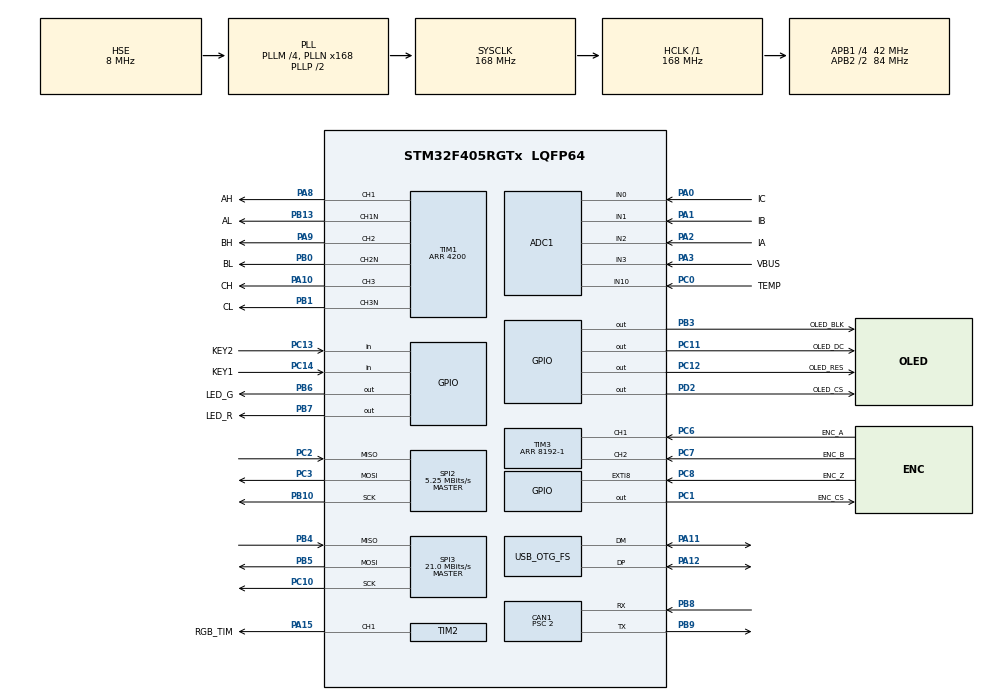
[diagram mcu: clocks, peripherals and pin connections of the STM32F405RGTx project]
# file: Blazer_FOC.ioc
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ADC1.Channel-2\#ChannelRegularConversion=ADC_CHANNEL_10
ADC1.Channel-3\#ChannelInjectedConversion=ADC_CHANNEL_2
ADC1.Channel-4\#ChannelInjectedConversion=ADC_CHANNEL_1
ADC1.Channel-5\#ChannelInjectedConversion=ADC_CHANNEL_0
ADC1.Channel-6\#ChannelInjectedConversion=ADC_CHANNEL_3
ADC1.ContinuousConvMode=ENABLE
ADC1.ExternalTrigInjecConv=ADC_EXTERNALTRIGINJECCONV_T1_CC4
ADC1.ExternalTrigInjecConvEdge=ADC_EXTERNALTRIGINJECCONVEDGE_FALLING
ADC1.InjNumberOfConversion=4
ADC1.InjectedOffset-3\#ChannelInjectedConversion=0
ADC1.InjectedOffset-4\#ChannelInjectedConversion=0
ADC1.InjectedOffset-5\#ChannelInjectedConversion=0
ADC1.InjectedOffset-6\#ChannelInjectedConversion=0
ADC1.InjectedRank-3\#ChannelInjectedConversion=1
ADC1.InjectedRank-4\#ChannelInjectedConversion=2
ADC1.InjectedRank-5\#ChannelInjectedConversion=3
ADC1.InjectedRank-6\#ChannelInjectedConversion=4
ADC1.NbrOfConversionFlag=1
ADC1.Rank-2\#ChannelRegularConversion=1
ADC1.SamplingTime-2\#ChannelRegularConversion=ADC_SAMPLETIME_15CYCLES
ADC1.SamplingTime-3\#ChannelInjectedConversion=ADC_SAMPLETIME_3CYCLES
ADC1.SamplingTime-4\#ChannelInjectedConversion=ADC_SAMPLETIME_3CYCLES
ADC1.SamplingTime-5\#ChannelInjectedConversion=ADC_SAMPLETIME_3CYCLES
ADC1.SamplingTime-6\#ChannelInjectedConversion=ADC_SAMPLETIME_3CYCLES
ADC1.ScanConvMode=ENABLE
ADC1.master=1
CAN1.ABOM=DISABLE
CAN1.AWUM=DISABLE
CAN1.BS1=CAN_BS1_16TQ
CAN1.BS2=CAN_BS2_4TQ
CAN1.CalculateBaudRate=1000000
CAN1.CalculateTimeBit=1000
CAN1.CalculateTimeQuantum=47.61904761904762
CAN1.Prescaler=2
Dma.MEMTOMEM.2.Direction=DMA_MEMORY_TO_MEMORY
Dma.MEMTOMEM.2.FIFOMode=DMA_FIFOMODE_ENABLE
Dma.MEMTOMEM.2.FIFOThreshold=DMA_FIFO_THRESHOLD_FULL
Dma.MEMTOMEM.2.Instance=DMA2_Stream0
Dma.MEMTOMEM.2.MemBurst=DMA_MBURST_SINGLE
Dma.MEMTOMEM.2.MemDataAlignment=DMA_MDATAALIGN_HALFWORD
Dma.MEMTOMEM.2.MemInc=DMA_MINC_ENABLE
Dma.MEMTOMEM.2.Mode=DMA_NORMAL
Dma.MEMTOMEM.2.PeriphBurst=DMA_PBURST_SINGLE
Dma.MEMTOMEM.2.PeriphDataAlignment=DMA_PDATAALIGN_HALFWORD
Dma.MEMTOMEM.2.PeriphInc=DMA_PINC_ENABLE
Dma.MEMTOMEM.2.Priority=DMA_PRIORITY_MEDIUM
Dma.Request0=SPI3_RX
Dma.Request1=SPI3_TX
Dma.Request2=MEMTOMEM
Dma.Request3=TIM2_CH1
Dma.SPI3_RX.0.Direction=DMA_PERIPH_TO_MEMORY
Dma.SPI3_RX.0.FIFOMode=DMA_FIFOMODE_DISABLE
Dma.SPI3_RX.0.Instance=DMA1_Stream0
Dma.SPI3_RX.0.MemDataAlignment=DMA_MDATAALIGN_BYTE
Dma.SPI3_RX.0.MemInc=DMA_MINC_ENABLE
Dma.SPI3_RX.0.Mode=DMA_NORMAL
Dma.SPI3_RX.0.PeriphDataAlignment=DMA_PDATAALIGN_BYTE
Dma.SPI3_RX.0.PeriphInc=DMA_PINC_DISABLE
Dma.SPI3_RX.0.Priority=DMA_PRIORITY_LOW
Dma.SPI3_TX.1.Direction=DMA_MEMORY_TO_PERIPH
Dma.SPI3_TX.1.FIFOMode=DMA_FIFOMODE_DISABLE
Dma.SPI3_TX.1.Instance=DMA1_Stream7
Dma.SPI3_TX.1.MemDataAlignment=DMA_MDATAALIGN_BYTE
Dma.SPI3_TX.1.MemInc=DMA_MINC_ENABLE
Dma.SPI3_TX.1.Mode=DMA_NORMAL
Dma.SPI3_TX.1.PeriphDataAlignment=DMA_PDATAALIGN_BYTE
Dma.SPI3_TX.1.PeriphInc=DMA_PINC_DISABLE
Dma.SPI3_TX.1.Priority=DMA_PRIORITY_LOW
Dma.TIM2_CH1.3.Direction=DMA_MEMORY_TO_PERIPH
Dma.TIM2_CH1.3.FIFOMode=DMA_FIFOMODE_DISABLE
Dma.TIM2_CH1.3.Instance=DMA1_Stream5
Dma.TIM2_CH1.3.MemDataAlignment=DMA_MDATAALIGN_WORD
Dma.TIM2_CH1.3.MemInc=DMA_MINC_ENABLE
Dma.TIM2_CH1.3.Mode=DMA_NORMAL
Dma.TIM2_CH1.3.PeriphDataAlignment=DMA_PDATAALIGN_WORD
Dma.TIM2_CH1.3.PeriphInc=DMA_PINC_DISABLE
Dma.TIM2_CH1.3.Priority=DMA_PRIORITY_MEDIUM
Mcu.Family=STM32F4
Mcu.Name=STM32F405RGTx
Mcu.Package=LQFP64
NVIC.ADC_IRQn=true\:0\:0\:true\:false\:true\:true\:true\:true
NVIC.CAN1_RX0_IRQn=true\:0\:2\:true\:false\:true\:true\:true\:true
NVIC.CAN1_TX_IRQn=true\:0\:1\:true\:false\:true\:true\:true\:true
NVIC.DMA1_Stream0_IRQn=true\:1\:0\:true\:false\:true\:false\:true\:true
NVIC.DMA1_Stream5_IRQn=true\:0\:0\:true\:false\:true\:false\:true\:true
NVIC.DMA1_Stream7_IRQn=true\:1\:0\:false\:false\:true\:false\:true\:true
NVIC.EXTI9_5_IRQn=true\:1\:1\:true\:false\:true\:true\:true\:true
NVIC.OTG_FS_IRQn=true\:0\:0\:false\:false\:true\:false\:true\:true
NVIC.PriorityGroup=NVIC_PRIORITYGROUP_2
NVIC.TIM7_IRQn=true\:1\:1\:true\:false\:true\:true\:true\:true
PA0-WKUP.GPIO_Label=IC
PA0-WKUP.Signal=ADCx_IN0
PA1.GPIO_Label=IB
PA1.Signal=ADCx_IN1
PA10.GPIO_Label=CH
PA10.GPIO_Speed=GPIO_SPEED_FREQ_VERY_HIGH
PA10.Signal=S_TIM1_CH3
PA10.Stacked=true
PA11.Mode=Device_Only
PA11.Signal=USB_OTG_FS_DM
PA12.Mode=Device_Only
PA12.Signal=USB_OTG_FS_DP
PA13.Mode=Serial_Wire
PA13.Signal=SYS_JTMS-SWDIO
PA14.Mode=Serial_Wire
PA14.Signal=SYS_JTCK-SWCLK
PA15.GPIO_Label=RGB_TIM
PA15.Signal=S_TIM2_CH1_ETR
PA2.GPIO_Label=IA
PA2.Signal=ADCx_IN2
PA3.GPIO_Label=VBUS
PA3.Signal=ADCx_IN3
PA8.GPIO_Label=AH
PA8.GPIO_Speed=GPIO_SPEED_FREQ_VERY_HIGH
PA8.Signal=S_TIM1_CH1
PA8.Stacked=true
PA9.GPIO_Label=BH
PA9.GPIO_Speed=GPIO_SPEED_FREQ_VERY_HIGH
PA9.Signal=S_TIM1_CH2
PA9.Stacked=true
PB0.GPIO_Label=BL
PB0.GPIO_Speed=GPIO_SPEED_FREQ_VERY_HIGH
PB0.Mode=PWM Generation2 CH2 CH2N
PB0.Signal=TIM1_CH2N
PB0.Stacked=true
PB1.GPIO_Label=CL
PB1.GPIO_Speed=GPIO_SPEED_FREQ_VERY_HIGH
PB1.Mode=PWM Generation3 CH3 CH3N
PB1.Signal=TIM1_CH3N
PB1.Stacked=true
PB10.Mode=Full_Duplex_Master
PB10.Signal=SPI2_SCK
PB13.GPIO_Label=AL
PB13.GPIO_Speed=GPIO_SPEED_FREQ_VERY_HIGH
PB13.Mode=PWM Generation1 CH1 CH1N
PB13.Signal=TIM1_CH1N
PB13.Stacked=true
PB3.GPIO_Label=OLED_BLK
PB3.GPIO_Speed=GPIO_SPEED_FREQ_VERY_HIGH
PB3.PinState=GPIO_PIN_SET
PB3.Signal=GPIO_Output
PB4.Mode=Full_Duplex_Master
PB4.Signal=SPI3_MISO
PB5.Mode=Full_Duplex_Master
PB5.Signal=SPI3_MOSI
PB6.GPIO_Label=LED_G
PB6.GPIO_Speed=GPIO_SPEED_FREQ_VERY_HIGH
PB6.PinState=GPIO_PIN_SET
PB6.Signal=GPIO_Output
PB7.GPIO_Label=LED_R
PB7.GPIO_Speed=GPIO_SPEED_FREQ_VERY_HIGH
PB7.PinState=GPIO_PIN_SET
PB7.Signal=GPIO_Output
PB8.Mode=CAN_Activate
PB8.Signal=CAN1_RX
PB9.Mode=CAN_Activate
PB9.Signal=CAN1_TX
PC0.GPIO_Label=TEMP
PC0.Signal=ADCx_IN10
PC1.GPIO_Label=ENC_CS
PC1.GPIO_Speed=GPIO_SPEED_FREQ_VERY_HIGH
PC1.PinState=GPIO_PIN_SET
PC1.Signal=GPIO_Output
PC10.Mode=Full_Duplex_Master
PC10.Signal=SPI3_SCK
PC11.GPIO_Label=OLED_DC
PC11.GPIO_Speed=GPIO_SPEED_FREQ_VERY_HIGH
PC11.Signal=GPIO_Output
PC12.GPIO_Label=OLED_RES
PC12.GPIO_Speed=GPIO_SPEED_FREQ_VERY_HIGH
PC12.Signal=GPIO_Output
PC13-ANTI_TAMP.GPIO_Label=KEY2
PC13-ANTI_TAMP.GPIO_PuPd=GPIO_PULLUP
PC13-ANTI_TAMP.Signal=GPIO_Input
PC14-OSC32_IN.GPIO_Label=KEY1
PC14-OSC32_IN.GPIO_PuPd=GPIO_PULLUP
PC14-OSC32_IN.Signal=GPIO_Input
PC2.Mode=Full_Duplex_Master
PC2.Signal=SPI2_MISO
PC3.Mode=Full_Duplex_Master
PC3.Signal=SPI2_MOSI
PC6.GPIO_Label=ENC_A
PC6.GPIO_Speed=GPIO_SPEED_FREQ_VERY_HIGH
PC6.Signal=S_TIM3_CH1
PC6.Stacked=true
PC7.GPIO_Label=ENC_B
PC7.GPIO_Speed=GPIO_SPEED_FREQ_VERY_HIGH
PC7.Signal=S_TIM3_CH2
PC7.Stacked=true
PC8.GPIO_Label=ENC_Z
PC8.Signal=GPXTI8
PD2.GPIO_Label=OLED_CS
PD2.GPIO_Speed=GPIO_SPEED_FREQ_VERY_HIGH
PD2.PinState=GPIO_PIN_SET
PD2.Signal=GPIO_Output
PH0-OSC_IN.Mode=HSE-External-Oscillator
PH0-OSC_IN.Signal=RCC_OSC_IN
PH1-OSC_OUT.Mode=HSE-External-Oscillator
PH1-OSC_OUT.Signal=RCC_OSC_OUT
ProjectManager.HeapSize=0x2000
ProjectManager.StackSize=0x4000
ProjectManager.TargetToolchain=MDK-ARM V5.32
RCC.48MHZClocksFreq_Value=48000000
RCC.AHBFreq_Value=168000000
RCC.APB1CLKDivider=RCC_HCLK_DIV4
RCC.APB1Freq_Value=42000000
RCC.APB1TimFreq_Value=84000000
RCC.APB2CLKDivider=RCC_HCLK_DIV2
RCC.APB2Freq_Value=84000000
RCC.APB2TimFreq_Value=168000000
RCC.CortexFreq_Value=168000000
RCC.HCLKFreq_Value=168000000
RCC.HSE_Timout=1000
RCC.HSE_VALUE=8000000
RCC.HSI_VALUE=16000000
RCC.LSE_VALUE=32768
RCC.PLLM=4
RCC.PLLN=168
RCC.PLLQ=7
RCC.SYSCLKFreq_VALUE=168000000
RCC.SYSCLKSource=RCC_SYSCLKSOURCE_PLLCLK
RCC.VCOOutputFreq_Value=336000000
SH.ADCx_IN0.0=ADC1_IN0,IN0
SH.ADCx_IN1.0=ADC1_IN1,IN1
SH.ADCx_IN10.0=ADC1_IN10,IN10
SH.ADCx_IN2.0=ADC1_IN2,IN2
SH.ADCx_IN3.0=ADC1_IN3,IN3
SH.S_TIM1_CH1.0=TIM1_CH1,PWM Generation1 CH1 CH1N
SH.S_TIM1_CH2.0=TIM1_CH2,PWM Generation2 CH2 CH2N
SH.S_TIM1_CH3.0=TIM1_CH3,PWM Generation3 CH3 CH3N
SH.S_TIM2_CH1_ETR.0=TIM2_CH1,PWM Generation1 CH1
SH.S_TIM3_CH1.0=TIM3_CH1,Encoder_Interface
SH.S_TIM3_CH2.0=TIM3_CH2,Encoder_Interface
SPI2.BaudRatePrescaler=SPI_BAUDRATEPRESCALER_8
SPI2.CLKPhase=SPI_PHASE_2EDGE
SPI2.CLKPolarity=SPI_POLARITY_HIGH
SPI2.CalculateBaudRate=5.25 MBits/s
SPI2.DataSize=SPI_DATASIZE_16BIT
SPI2.Direction=SPI_DIRECTION_2LINES
SPI2.Mode=SPI_MODE_MASTER
SPI2.VirtualType=VM_MASTER
SPI3.BaudRatePrescaler=SPI_BAUDRATEPRESCALER_2
SPI3.CLKPhase=SPI_PHASE_2EDGE
SPI3.CLKPolarity=SPI_POLARITY_HIGH
SPI3.CalculateBaudRate=21.0 MBits/s
SPI3.Direction=SPI_DIRECTION_2LINES
SPI3.Mode=SPI_MODE_MASTER
SPI3.VirtualType=VM_MASTER
TIM1.AutoReloadPreload=TIM_AUTORELOAD_PRELOAD_ENABLE
TIM1.Channel-PWM\ Generation1\ CH1\ CH1N=TIM_CHANNEL_1
TIM1.Channel-PWM\ Generation2\ CH2\ CH2N=TIM_CHANNEL_2
TIM1.Channel-PWM\ Generation3\ CH3\ CH3N=TIM_CHANNEL_3
TIM1.Channel-PWM\ Generation4\ No\ Output=TIM_CHANNEL_4
TIM1.CounterMode=TIM_COUNTERMODE_CENTERALIGNED1
TIM1.DeadTime=40
TIM1.Period=4200
TIM1.Pulse-PWM\ Generation1\ CH1\ CH1N=4200
TIM1.Pulse-PWM\ Generation2\ CH2\ CH2N=4200
TIM1.Pulse-PWM\ Generation3\ CH3\ CH3N=4200
TIM1.Pulse-PWM\ Generation4\ No\ Output=4190
TIM2.Channel-PWM\ Generation1\ CH1=TIM_CHANNEL_1
TIM2.Period=105-1
TIM2.Pulse-PWM\ Generation1\ CH1=0
TIM3.AutoReloadPreload=TIM_AUTORELOAD_PRELOAD_ENABLE
TIM3.EncoderMode=TIM_ENCODERMODE_TI12
TIM3.IC1Filter=1
TIM3.IC1Prescaler=TIM_ICPSC_DIV1
TIM3.IC2Filter=1
TIM3.Period=8192-1
TIM7.AutoReloadPreload=TIM_AUTORELOAD_PRELOAD_ENABLE
TIM7.Period=1000-1
TIM7.Prescaler=84-1
TIM7.TIM_MasterOutputTrigger=TIM_TRGO_ENABLE
TIM8.Channel-PWM\ Generation4\ No\ Output=TIM_CHANNEL_4
TIM8.CounterMode=TIM_COUNTERMODE_CENTERALIGNED1
TIM8.Period=4200
TIM8.Pulse-PWM\ Generation4\ No\ Output=2100
USB_DEVICE.CLASS_NAME_FS=CDC
USB_DEVICE.VirtualMode-CDC_FS=Cdc
USB_DEVICE.VirtualModeFS=Cdc_FS
USB_OTG_FS.VirtualMode=Device_Only
VP_TIM1_VS_no_output4.Mode=PWM Generation4 No Output
VP_TIM7_VS_ClockSourceINT.Mode=Enable_Timer
VP_TIM8_VS_no_output4.Mode=PWM Generation4 No Output
VP_USB_DEVICE_VS_USB_DEVICE_CDC_FS.Mode=CDC_FS
board=custom

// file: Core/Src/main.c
/* USER CODE BEGIN Header */
/**
  ******************************************************************************
  * @file           : main.c
  * @brief          : Main program body
  ******************************************************************************
  * @attention
  *
  * <h2><center>&copy; Copyright (c) 2024 STMicroelectronics.
  * All rights reserved.</center></h2>
  *
  * This software component is licensed by ST under BSD 3-Clause license,
  * the "License"; You may not use this file except in compliance with the
  * License. You may obtain a copy of the License at:
  *                        opensource.org/licenses/BSD-3-Clause
  *
  ******************************************************************************
  */
/* USER CODE END Header */
#include "main.h"
#include "adc.h"
#include "can.h"
#include "dma.h"
#include "spi.h"
#include "tim.h"
#include "usb_device.h"
#include "gpio.h"

/* USER CODE BEGIN Includes */
#include "common_inc.h"
/* USER CODE END Includes */

void SystemClock_Config(void);

/* USER CODE BEGIN 0 */
extern u8g2_t u8g2;
extern uint16_t Menu_Cnt;
extern CANMsg_TypeDef CANMsg;
extern MotorControl_TypeDef MotorControl;

/* USER CODE END 0 */

int main(void)
{

  /* MCU Configuration--------------------------------------------------------*/

  /* Reset of all peripherals, Initializes the Flash interface and the Systick. */
  HAL_Init();

  /* Configure the system clock */
  SystemClock_Config();

  /* Initialize all configured peripherals */
  MX_GPIO_Init();
  MX_DMA_Init();
  MX_ADC1_Init();
  MX_CAN1_Init();
  MX_SPI2_Init();
  MX_SPI3_Init();
  MX_TIM1_Init();
  MX_TIM2_Init();
  MX_TIM3_Init();
  MX_TIM7_Init();
  MX_TIM8_Init();
  MX_USB_DEVICE_Init();
  /* USER CODE BEGIN 2 */
  Board_Init();

  /* USER CODE END 2 */

  /* Infinite loop */
  while (1)
  {

    /* USER CODE BEGIN 3 */
	if(Menu_Cnt >= 50)
	{
		Choose_Menu();
		Menu_Cnt = 0;
	}

	if(CANMsg.can_tx_en == true)
	{
		CAN_SendMessage();
		CANMsg.can_tx_en = false;
	}

	if(MotorControl.ModeNow == Save_Param)
	{
		/*关闭全局中断*/
		__disable_irq();
		/*参数存储到Flash*/
		Param_FlashSave();
		/*打开全局中断*/
		__enable_irq();
		MotorControl.ModeNow = Motor_Disable;
	}

  }
  /* USER CODE END 3 */
}

void SystemClock_Config(void)
{
  RCC_OscInitTypeDef RCC_OscInitStruct = {0};
  RCC_ClkInitTypeDef RCC_ClkInitStruct = {0};

  /** Configure the main internal regulator output voltage
  */
  __HAL_RCC_PWR_CLK_ENABLE();
  __HAL_PWR_VOLTAGESCALING_CONFIG(PWR_REGULATOR_VOLTAGE_SCALE1);

  /** Initializes the RCC Oscillators according to the specified parameters
  * in the RCC_OscInitTypeDef structure.
  */
  RCC_OscInitStruct.OscillatorType = RCC_OSCILLATORTYPE_HSE;
  RCC_OscInitStruct.HSEState = RCC_HSE_ON;
  RCC_OscInitStruct.PLL.PLLState = RCC_PLL_ON;
  RCC_OscInitStruct.PLL.PLLSource = RCC_PLLSOURCE_HSE;
  RCC_OscInitStruct.PLL.PLLM = 4;
  RCC_OscInitStruct.PLL.PLLN = 168;
  RCC_OscInitStruct.PLL.PLLP = RCC_PLLP_DIV2;
  RCC_OscInitStruct.PLL.PLLQ = 7;
  if (HAL_RCC_OscConfig(&RCC_OscInitStruct) != HAL_OK)
  {
    Error_Handler();
  }

  /** Initializes the CPU, AHB and APB buses clocks
  */
  RCC_ClkInitStruct.ClockType = RCC_CLOCKTYPE_HCLK|RCC_CLOCKTYPE_SYSCLK
                              |RCC_CLOCKTYPE_PCLK1|RCC_CLOCKTYPE_PCLK2;
  RCC_ClkInitStruct.SYSCLKSource = RCC_SYSCLKSOURCE_PLLCLK;
  RCC_ClkInitStruct.AHBCLKDivider = RCC_SYSCLK_DIV1;
  RCC_ClkInitStruct.APB1CLKDivider = RCC_HCLK_DIV4;
  RCC_ClkInitStruct.APB2CLKDivider = RCC_HCLK_DIV2;

  if (HAL_RCC_ClockConfig(&RCC_ClkInitStruct, FLASH_LATENCY_5) != HAL_OK)
  {
    Error_Handler();
  }
}

void Error_Handler(void)
{
  __disable_irq();
  while (1)
  {
  }
}
